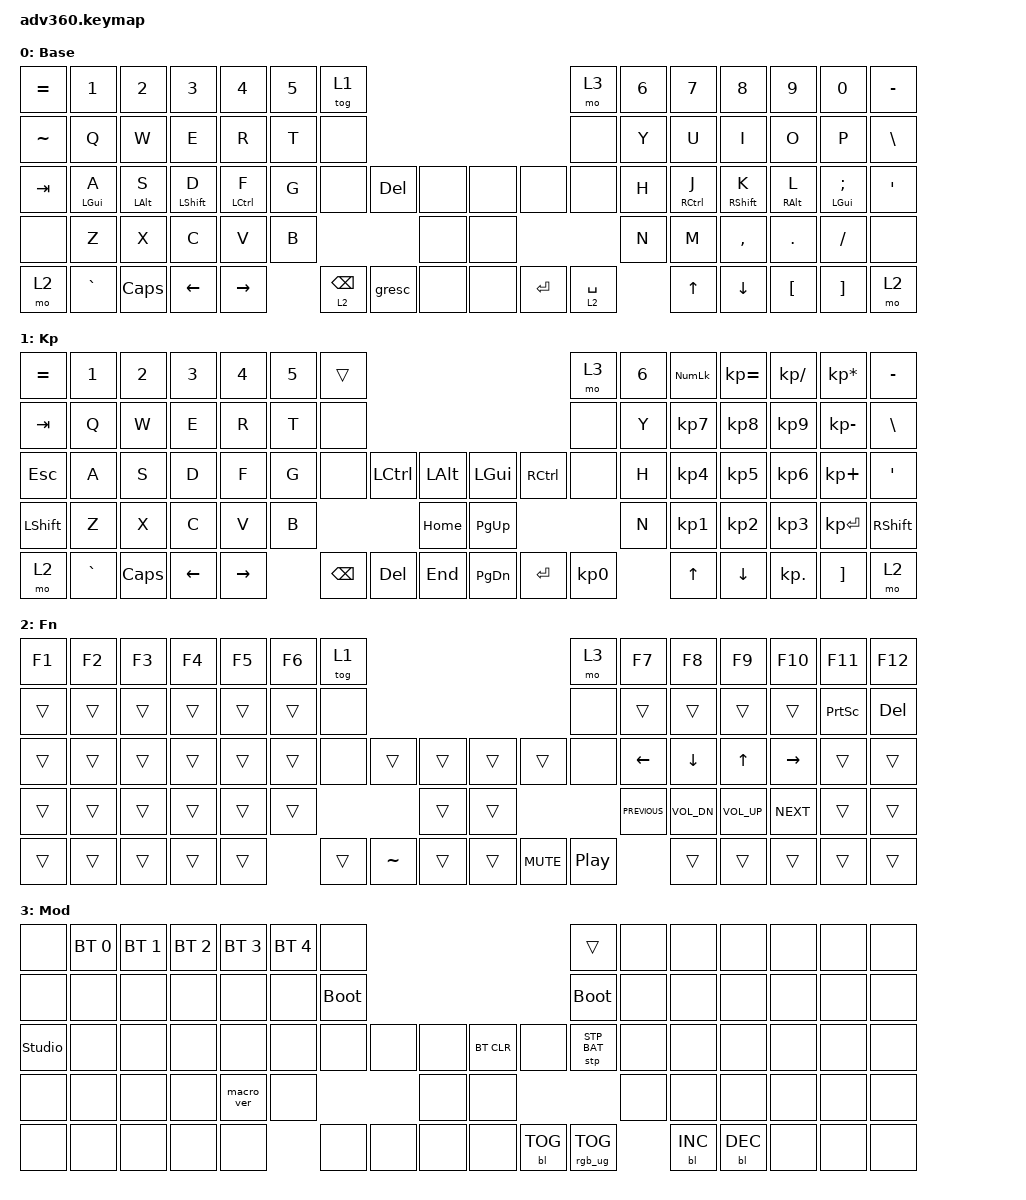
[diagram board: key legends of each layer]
#include <dt-bindings/zmk/stp.h>
#include <behaviors.dtsi>
#include <dt-bindings/zmk/backlight.h>
#include <dt-bindings/zmk/bt.h>
#include <dt-bindings/zmk/keys.h>
#include <dt-bindings/zmk/rgb.h>

/ {
    behaviors {
        #include "macros.dtsi"
      #include "version.dtsi"

        hm: homerow_mods {
            compatible = "zmk,behavior-hold-tap";
            label = "HOMEROW_MODS";
            #binding-cells = <2>;
            tapping-term-ms = <200>;
            quick_tap_ms = <175>;
            flavor = "tap-preferred";
            bindings = <&kp>, <&kp>;
        };

        homerow_left: homerow_left {
            compatible = "zmk,behavior-hold-tap";
            label = "HOMEROW_LEFT";
            #binding-cells = <2>;
            tapping-term-ms = <200>;
            flavor = "tap-preferred";
            bindings = <&kp>, <&kp>;

            hold-trigger-on-release;
            hold-trigger-key-positions = <7 8 9 10 11 12 13 21 22 23 24 25 26 27 39 40 41 42 43 44 45 54 55 56 57 58 59 71 72 73 74 75 70 69 37 38 53 68 69>;
            quick-tap-ms = <175>;
        };

        homerow_right: homerow_right {
            compatible = "zmk,behavior-hold-tap";
            label = "HOMEROW_RIGHT";
            #binding-cells = <2>;
            tapping-term-ms = <200>;
            flavor = "tap-preferred";
            bindings = <&kp>, <&kp>;

            hold-trigger-on-release;
            hold-trigger-key-positions = <0 1 2 3 4 5 6 14 15 16 17 18 19 20 28 29 30 31 32 33 34 35 36 46 47 48 49 50 51 52 60 61 62 63 64 65 66 67>;
            quick-tap-ms = <175>;
        };
    };

    combos {
        compatible = "zmk,combos";

        thumb-tab {
            bindings = <&kp TAB>;
            key-positions = <65 70>;
            layers = <0>;
        };
    };

    keymap {
        compatible = "zmk,keymap";

        default_layer {
            display-name = "Base";
            bindings = <
&kp EQUAL  &kp N1                    &kp N2                    &kp N3                      &kp N4                        &kp N5  &tog 1                                                    &mo 3        &kp N6  &kp N7                          &kp N8                        &kp N9                      &kp N0                             &kp MINUS
&kp TILDE  &kp Q                     &kp W                     &kp E                       &kp R                         &kp T   &none                                                     &none        &kp Y   &kp U                           &kp I                         &kp O                       &kp P                              &kp BSLH
&kp TAB    &homerow_left LEFT_GUI A  &homerow_left LEFT_ALT S  &homerow_left LEFT_SHIFT D  &homerow_left LEFT_CONTROL F  &kp G   &none            &kp DELETE  &none      &none  &none      &none        &kp H   &homerow_right RIGHT_CONTROL J  &homerow_right RIGHT_SHIFT K  &homerow_right RIGHT_ALT L  &homerow_right LEFT_GUI SEMICOLON  &kp SQT
&none      &kp Z                     &kp X                     &kp C                       &kp V                         &kp B                                &none      &none                          &kp N   &kp M                           &kp COMMA                     &kp DOT                     &kp FSLH                           &none
&mo 2      &kp GRAVE                 &kp CAPS                  &kp LEFT                    &kp RIGHT                             &lt 2 BACKSPACE  &gresc      &none      &none  &kp ENTER  &lt 2 SPACE          &kp UP                          &kp DOWN                      &kp LBKT                    &kp RBKT                           &mo 2
            >;
        };

        keypad {
            display-name = "Kp";
            bindings = <
&kp EQUAL  &kp N1     &kp N2    &kp N3    &kp N4     &kp N5  &trans                                                   &mo 3      &kp N6  &kp KP_NUM  &kp KP_EQUAL  &kp KP_DIVIDE  &kp KP_MULTIPLY  &kp MINUS
&kp TAB    &kp Q      &kp W     &kp E     &kp R      &kp T   &none                                                    &none      &kp Y   &kp KP_N7   &kp KP_N8     &kp KP_N9      &kp KP_MINUS     &kp BSLH
&kp ESC    &kp A      &kp S     &kp D     &kp F      &kp G   &none     &kp LCTRL  &kp LALT      &kp LGUI   &kp RCTRL  &none      &kp H   &kp KP_N4   &kp KP_N5     &kp KP_N6      &kp KP_PLUS      &kp SQT
&kp LSHFT  &kp Z      &kp X     &kp C     &kp V      &kp B                        &kp HOME      &kp PG_UP                        &kp N   &kp KP_N1   &kp KP_N2     &kp KP_N3      &kp KP_ENTER     &kp RSHFT
&mo 2      &kp GRAVE  &kp CAPS  &kp LEFT  &kp RIGHT          &kp BSPC  &kp DEL    &kp END       &kp PG_DN  &kp ENTER  &kp KP_N0          &kp UP      &kp DOWN      &kp KP_DOT     &kp RBKT         &mo 2
            >;
        };

        fn {
            display-name = "Fn";
            bindings = <
&kp F1  &kp F2  &kp F3  &kp F4  &kp F5  &kp F6  &tog 1                                             &mo 3             &kp F7          &kp F8          &kp F9           &kp F10          &kp F11          &kp F12
&trans  &trans  &trans  &trans  &trans  &trans  &none                                              &none             &trans          &trans          &trans           &trans           &kp PRINTSCREEN  &kp DELETE
&trans  &trans  &trans  &trans  &trans  &trans  &none   &trans     &trans      &trans  &trans      &none             &kp LEFT_ARROW  &kp DOWN_ARROW  &kp UP_ARROW     &kp RIGHT_ARROW  &trans           &trans
&trans  &trans  &trans  &trans  &trans  &trans                     &trans      &trans                                &kp C_PREVIOUS  &kp C_VOL_DN    &kp C_VOLUME_UP  &kp C_NEXT       &trans           &trans
&trans  &trans  &trans  &trans  &trans          &trans  &kp TILDE  &trans      &trans  &kp C_MUTE  &kp C_PLAY_PAUSE                  &trans          &trans           &trans           &trans           &trans
            >;
        };

        mod {
            display-name = "Mod";
            bindings = <
&none           &bt BT_SEL 0  &bt BT_SEL 1  &bt BT_SEL 2  &bt BT_SEL 3  &bt BT_SEL 4  &none                                                  &trans           &none  &none       &none       &none  &none  &none
&none           &none         &none         &none         &none         &none         &bootloader                                            &bootloader      &none  &none       &none       &none  &none  &none
&studio_unlock  &none         &none         &none         &none         &none         &none        &none  &none      &bt BT_CLR  &none       &stp STP_BAT     &none  &none       &none       &none  &none  &none
&none           &none         &none         &none         &macro_ver    &none                             &none      &none                                    &none  &none       &none       &none  &none  &none
&none           &none         &none         &none         &none                       &none        &none  &none      &none       &bl BL_TOG  &rgb_ug RGB_TOG         &bl BL_INC  &bl BL_DEC  &none  &none  &none
            >;
        };
    };
};
